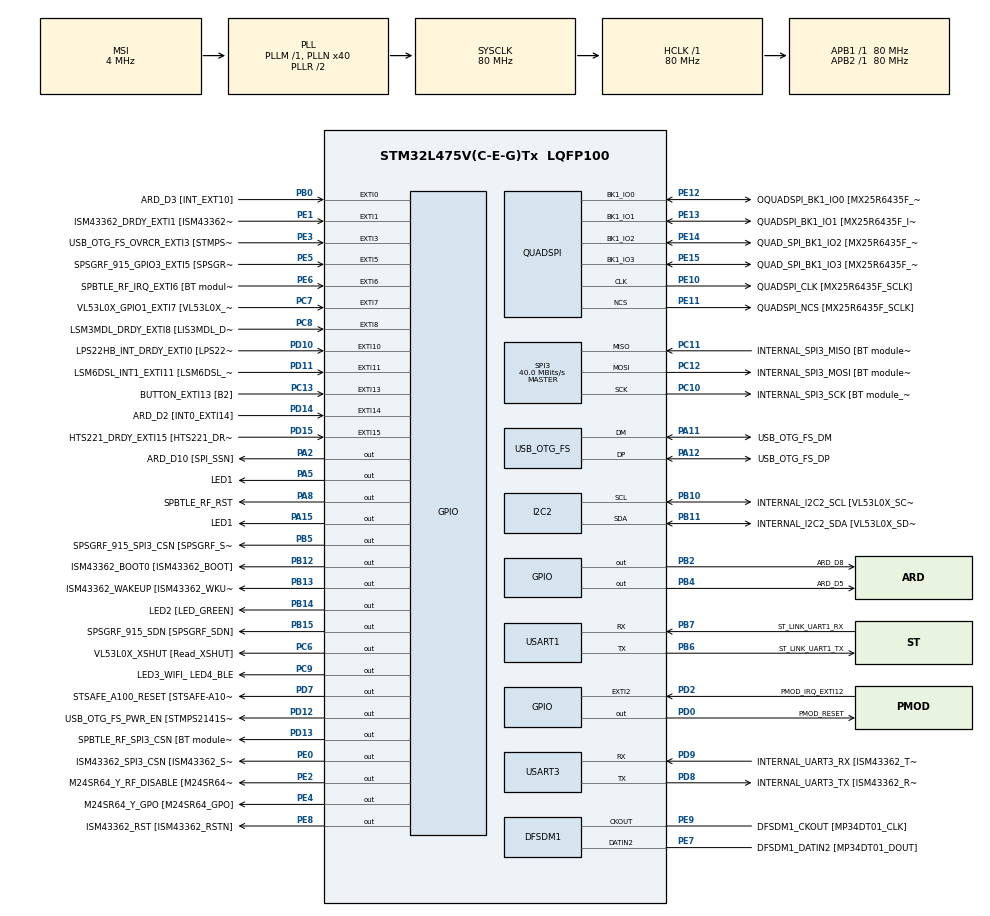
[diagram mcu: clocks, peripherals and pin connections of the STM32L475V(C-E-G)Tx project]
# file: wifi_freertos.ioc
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FREERTOS.Tasks01=defaultTask,32,256,StartDefaultTask,Default,NULL,Dynamic,NULL,NULL;wifiStart,24,512,wifiStartTask,Default,NULL,Dynamic,NULL,NULL;ledTask,24,256,ledTaskFunc,Default,NULL,Dynamic,NULL,NULL
FREERTOS.configENABLE_FPU=1
FREERTOS.configTOTAL_HEAP_SIZE=5000
FREERTOS.configUSE_NEWLIB_REENTRANT=1
Mcu.Family=STM32L4
Mcu.Name=STM32L475V(C-E-G)Tx
Mcu.Package=LQFP100
NVIC.EXTI15_10_IRQn=true\:5\:0\:false\:false\:true\:true\:true\:true
NVIC.EXTI1_IRQn=true\:5\:0\:false\:false\:true\:true\:true\:true
NVIC.EXTI9_5_IRQn=true\:5\:0\:false\:false\:true\:true\:true\:true
NVIC.PriorityGroup=NVIC_PRIORITYGROUP_4
NVIC.TIM6_DAC_IRQn=true\:15\:0\:false\:false\:true\:false\:false\:true
NVIC.TimeBase=TIM6_DAC_IRQn
NVIC.TimeBaseIP=TIM6
PA0.GPIO_Label=ARD_D1 [UART4_TX]
PA0.Signal=UART4_TX
PA1.GPIO_Label=ARD_D0 [UART4_RX]
PA1.Signal=UART4_RX
PA10.GPIO_Label=USB_OTG_FS_ID
PA10.Signal=USB_OTG_FS_ID
PA11.GPIO_Label=USB_OTG_FS_DM
PA11.Mode=Device_Only
PA11.Signal=USB_OTG_FS_DM
PA12.GPIO_Label=USB_OTG_FS_DP
PA12.Mode=Device_Only
PA12.Signal=USB_OTG_FS_DP
PA13\ (JTMS-SWDIO).GPIO_Label=SYS_JTMS_SWDIO
PA13\ (JTMS-SWDIO).Mode=Serial_Wire
PA13\ (JTMS-SWDIO).Signal=SYS_JTMS-SWDIO
PA14\ (JTCK-SWCLK).GPIO_Label=SYS_JTCK_SWCLK
PA14\ (JTCK-SWCLK).Mode=Serial_Wire
PA14\ (JTCK-SWCLK).Signal=SYS_JTCK-SWCLK
PA15\ (JTDI).GPIO_Label=LED1
PA15\ (JTDI).Signal=GPIO_Output
PA2.GPIO_Label=ARD_D10 [SPI_SSN]
PA2.Signal=GPIO_Output
PA3.GPIO_Label=ARD_D4
PA3.Signal=S_TIM2_CH4
PA4.GPIO_Label=ARD_D7
PA4.Signal=ADCx_IN9
PA5.GPIO_Label=LED1
PA5.Signal=GPIO_Output
PA6.GPIO_Label=ARD_D12 [SPI1_MISO]
PA6.Signal=SPI1_MISO
PA7.GPIO_Label=ARD_D11 [SPI1_MOSI]
PA7.Signal=SPI1_MOSI
PA8.GPIO_Label=SPBTLE_RF_RST
PA8.Signal=GPIO_Output
PA9.GPIO_Label=USB_OTG_FS_VBUS [STMPS2141STR_OUT]
PA9.Signal=USB_OTG_FS_VBUS
PB0.GPIO_Label=ARD_D3 [INT_EXT10]
PB0.Signal=GPXTI0
PB1.GPIO_Label=ARD_D6 [ADC1_IN6]
PB1.Signal=ADCx_IN16
PB10.GPIO_Label=INTERNAL_I2C2_SCL [VL53L0X_SCL]
PB10.GPIO_Pu=GPIO_PULLUP
PB10.Mode=I2C
PB10.Signal=I2C2_SCL
PB11.GPIO_Label=INTERNAL_I2C2_SDA [VL53L0X_SDA]
PB11.GPIO_Pu=GPIO_PULLUP
PB11.Mode=I2C
PB11.Signal=I2C2_SDA
PB12.GPIO_Label=ISM43362_BOOT0 [ISM43362_BOOT]
PB12.Signal=GPIO_Output
PB13.GPIO_Label=ISM43362_WAKEUP [ISM43362_WKUP]
PB13.Signal=GPIO_Output
PB14.GPIO_Label=LED2 [LED_GREEN]
PB14.Signal=GPIO_Output
PB15.GPIO_Label=SPSGRF_915_SDN [SPSGRF_SDN]
PB15.Signal=GPIO_Output
PB2.GPIO_Label=ARD_D8
PB2.Signal=GPIO_Output
PB3\ (JTDO-TRACESWO).GPIO_Label=SYS_JTD0_SWO
PB3\ (JTDO-TRACESWO).Signal=SYS_JTDO-SWO
PB4\ (NJTRST).GPIO_Label=ARD_D5
PB4\ (NJTRST).Signal=GPIO_Output
PB5.GPIO_Label=SPSGRF_915_SPI3_CSN [SPSGRF_SPI_CS]
PB5.PinState=GPIO_PIN_SET
PB5.Signal=GPIO_Output
PB6.GPIO_Label=ST_LINK_UART1_TX
PB6.Mode=Asynchronous
PB6.Signal=USART1_TX
PB7.GPIO_Label=ST_LINK_UART1_RX
PB7.Mode=Asynchronous
PB7.Signal=USART1_RX
PB8.GPIO_Label=ARD_D15 [I2C1_SCL]
PB8.Signal=I2C1_SCL
PB9.GPIO_Label=ARD_D14 [I2C1_SDA]
PB9.Signal=I2C1_SDA
PC0.GPIO_Label=ARD_A5 [ADC]
PC0.Signal=ADCx_IN1
PC1.GPIO_Label=ARD_A4 [ADC]
PC1.Signal=ADCx_IN2
PC10.GPIO_Label=INTERNAL_SPI3_SCK [BT module_SPI_SCLK] [ISM43362_SCK]
PC10.Mode=Full_Duplex_Master
PC10.Signal=SPI3_SCK
PC11.GPIO_Label=INTERNAL_SPI3_MISO [BT module_SPI_MISO] [ISM43362_MISO]
PC11.Mode=Full_Duplex_Master
PC11.Signal=SPI3_MISO
PC12.GPIO_Label=INTERNAL_SPI3_MOSI [BT module_SPI_MOSI] [ISM43362_MOSI]
PC12.Mode=Full_Duplex_Master
PC12.Signal=SPI3_MOSI
PC13.GPIO_Label=BUTTON_EXTI13 [B2]
PC13.GPIO_ModeDefaultEXTI=GPIO_MODE_IT_FALLING
PC13.Signal=GPXTI13
PC14-OSC32_IN\ (PC14).Mode=LSE-External-Oscillator
PC14-OSC32_IN\ (PC14).Signal=RCC_OSC32_IN
PC15-OSC32_OUT\ (PC15).Mode=LSE-External-Oscillator
PC15-OSC32_OUT\ (PC15).Signal=RCC_OSC32_OUT
PC2.GPIO_Label=ARD_A3 [ADC]
PC2.Signal=ADCx_IN3
PC3.GPIO_Label=ARD_A2 [ADC]
PC3.Signal=ADCx_IN4
PC4.GPIO_Label=ARD_A1 [ADC]
PC4.Signal=ADCx_IN13
PC5.GPIO_Label=ARD_A0 [ADC]
PC5.Signal=ADCx_IN14
PC6.GPIO_Label=VL53L0X_XSHUT [Read_XSHUT]
PC6.Signal=GPIO_Output
PC7.GPIO_Label=VL53L0X_GPIO1_EXTI7 [VL53L0X_GPIO1]
PC7.Signal=GPXTI7
PC8.GPIO_Label=LSM3MDL_DRDY_EXTI8 [LIS3MDL_DRDY]
PC8.Signal=GPXTI8
PC9.GPIO_Label=LED3_WIFI_ LED4_BLE
PC9.Signal=GPIO_Output
PD0.GPIO_Label=PMOD_RESET
PD0.Signal=GPIO_Output
PD1.GPIO_Label=PMOD_SPI2_SCK
PD1.Signal=SPI2_SCK
PD10.GPIO_Label=LPS22HB_INT_DRDY_EXTI0 [LPS22HB_INT_DRDY] 
PD10.Signal=GPXTI10
PD11.GPIO_Label=LSM6DSL_INT1_EXTI11 [LSM6DSL_INT1]
PD11.Signal=GPXTI11
PD12.GPIO_Label=USB_OTG_FS_PWR_EN [STMPS2141STR_EN]
PD12.Signal=GPIO_Output
PD13.GPIO_Label=SPBTLE_RF_SPI3_CSN [BT module_SPI_CS]
PD13.PinState=GPIO_PIN_SET
PD13.Signal=GPIO_Output
PD14.GPIO_Label=ARD_D2 [INT0_EXTI14]
PD14.Signal=GPXTI14
PD15.GPIO_Label=HTS221_DRDY_EXTI15 [HTS221_DRDY]
PD15.Signal=GPXTI15
PD2.GPIO_Label=PMOD_IRQ_EXTI12
PD2.Signal=GPXTI2
PD3.GPIO_Label=PMOD_UART2_CTS
PD3.Signal=USART2_CTS
PD4.GPIO_Label=PMOD_UART2_RTS
PD4.Signal=USART2_RTS
PD5.GPIO_Label=PMOD_UART2_TX
PD5.Signal=USART2_TX
PD6.GPIO_Label=PMOD_UART2_RX
PD6.Signal=USART2_RX
PD7.GPIO_Label=STSAFE_A100_RESET [STSAFE-A100_RESET]
PD7.Signal=GPIO_Output
PD8.GPIO_Label=INTERNAL_UART3_TX [ISM43362_RX]
PD8.Mode=Asynchronous
PD8.Signal=USART3_TX
PD9.GPIO_Label=INTERNAL_UART3_RX [ISM43362_TX]
PD9.Mode=Asynchronous
PD9.Signal=USART3_RX
PE0.GPIO_Label=ISM43362_SPI3_CSN [ISM43362_SSN]
PE0.PinState=GPIO_PIN_SET
PE0.Signal=GPIO_Output
PE1.GPIO_Label=ISM43362_DRDY_EXTI1 [ISM43362_DATARDY]
PE1.Signal=GPXTI1
PE10.GPIO_Label=QUADSPI_CLK [MX25R6435F_SCLK]
PE10.Mode=Single Bank
PE10.Signal=QUADSPI_CLK
PE11.GPIO_Label=QUADSPI_NCS [MX25R6435F_SCLK]
PE11.Mode=Single Bank
PE11.Signal=QUADSPI_NCS
PE12.GPIO_Label=OQUADSPI_BK1_IO0 [MX25R6435F_IO0]
PE12.Mode=Single Bank
PE12.Signal=QUADSPI_BK1_IO0
PE13.GPIO_Label=QUADSPI_BK1_IO1 [MX25R6435F_IO1]
PE13.Mode=Single Bank
PE13.Signal=QUADSPI_BK1_IO1
PE14.GPIO_Label=QUAD_SPI_BK1_IO2 [MX25R6435F_IO2]
PE14.Mode=Single Bank
PE14.Signal=QUADSPI_BK1_IO2
PE15.GPIO_Label=QUAD_SPI_BK1_IO3 [MX25R6435F_IO3]
PE15.Mode=Single Bank
PE15.Signal=QUADSPI_BK1_IO3
PE2.GPIO_Label=M24SR64_Y_RF_DISABLE [M24SR64_RFDIS]
PE2.Signal=GPIO_Output
PE3.GPIO_Label=USB_OTG_FS_OVRCR_EXTI3 [STMPS2141STR_FAULT]
PE3.Signal=GPXTI3
PE4.GPIO_Label=M24SR64_Y_GPO [M24SR64_GPO]
PE4.Signal=GPIO_Output
PE5.GPIO_Label=SPSGRF_915_GPIO3_EXTI5 [SPSGRF_GPIO_3]
PE5.Signal=GPXTI5
PE6.GPIO_Label=SPBTLE_RF_IRQ_EXTI6 [BT module_SPI_IRQ]
PE6.Signal=GPXTI6
PE7.GPIO_Label=DFSDM1_DATIN2 [MP34DT01_DOUT]
PE7.Signal=S_DATAIN2DFSDM1
PE8.GPIO_Label=ISM43362_RST [ISM43362_RSTN]
PE8.Signal=GPIO_Output
PE9.GPIO_Label=DFSDM1_CKOUT [MP34DT01_CLK]
PE9.Signal=S_CKOUTDFSDM1
ProjectManager.HeapSize=0x200
ProjectManager.StackSize=0x400
ProjectManager.TargetToolchain=STM32CubeIDE
QUADSPI.ClockPrescaler=2
QUADSPI.FifoThreshold=4
QUADSPI.FlashSize=23
QUADSPI.SampleShifting=QSPI_SAMPLE_SHIFTING_HALFCYCLE
RCC.ADCFreq_Value=48000000
RCC.AHBFreq_Value=80000000
RCC.APB1Freq_Value=80000000
RCC.APB1TimFreq_Value=80000000
RCC.APB2Freq_Value=80000000
RCC.APB2TimFreq_Value=80000000
RCC.CortexFreq_Value=80000000
RCC.HCLKFreq_Value=80000000
RCC.HSE_VALUE=8000000
RCC.HSI_VALUE=16000000
RCC.MSI_VALUE=4000000
RCC.PLLN=40
RCC.PLLSAI1N=24
RCC.SYSCLKFreq_VALUE=80000000
RCC.SYSCLKSource=RCC_SYSCLKSOURCE_PLLCLK
RCC.USBFreq_Value=48000000
RCC.VCOOutputFreq_Value=160000000
SH.ADCx_IN1.0=ADC1_IN1
SH.ADCx_IN13.0=ADC1_IN13
SH.ADCx_IN14.0=ADC1_IN14
SH.ADCx_IN16.0=ADC1_IN16
SH.ADCx_IN2.0=ADC1_IN2
SH.ADCx_IN3.0=ADC1_IN3
SH.ADCx_IN4.0=ADC1_IN4
SH.ADCx_IN9.0=ADC1_IN9
SH.S_CKOUTDFSDM1.0=DFSDM1_CKOUT,CKOUT
SH.S_CKOUTDFSDM1.1=DFSDM1_CKOUT,PDM_SPI_Input_from_ch12_and_Internal_Clock
SH.S_DATAIN2DFSDM1.0=DFSDM1_DATIN2,PDM_SPI_Input_from_ch12_and_Internal_Clock
SH.S_TIM2_CH4.0=TIM2_CH4
SPI3.CalculateBaudRate=40.0 MBits/s
SPI3.Direction=SPI_DIRECTION_2LINES
SPI3.Mode=SPI_MODE_MASTER
SPI3.VirtualType=VM_MASTER
USART1.VirtualMode-Asynchronous=VM_ASYNC
USART3.VirtualMode-Asynchronous=VM_ASYNC
USB_OTG_FS.VirtualMode=Device_Only
VP_FREERTOS_VS_CMSIS_V2.Mode=CMSIS_V2
VP_SYS_VS_tim6.Mode=TIM6
board=B-L475E-IOT01A1

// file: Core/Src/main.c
/* USER CODE BEGIN Header */
/**
  ******************************************************************************
  * @file           : main.c
  * @brief          : Main program body
  ******************************************************************************
  * @attention
  *
  * <h2><center>&copy; Copyright (c) 2021 STMicroelectronics.
  * All rights reserved.</center></h2>
  *
  * This software component is licensed by ST under BSD 3-Clause license,
  * the "License"; You may not use this file except in compliance with the
  * License. You may obtain a copy of the License at:
  *                        opensource.org/licenses/BSD-3-Clause
  *
  ******************************************************************************
  */
/* USER CODE END Header */
#include "main.h"
#include "cmsis_os.h"

/* USER CODE BEGIN Includes */
#include "es_wifi.h"
#include "wifi.h"
#include "stm32l4xx_hal_uart.h"
#include "stm32l475e_iot01.h"
#include "stm32l475e_iot01_tsensor.h"

/* USER CODE END Includes */

/* USER CODE BEGIN PTD */
extern  SPI_HandleTypeDef hspi;
void SPI3_IRQHandler(void);

/* USER CODE END PTD */

/* USER CODE BEGIN PD */
#define FLAG_LED_ON  0x0001U
#define FLAG_LED_OFF 0x0002U
/* USER CODE END PD */

/* USER CODE BEGIN PM */
/* Update SSID and PASSWORD with own Access point settings */
#include "wifi_passwords.h"
#define PORT           80

#define TERMINAL_USE

#define WIFI_WRITE_TIMEOUT 10000
#define WIFI_READ_TIMEOUT  10000
#define SOCKET                 0

#ifdef  TERMINAL_USE
#define LOG(a) printf a
#else
#define LOG(a)
#endif

/* USER CODE END PM */

DFSDM_Channel_HandleTypeDef hdfsdm1_channel1;

I2C_HandleTypeDef hi2c2;

QSPI_HandleTypeDef hqspi;

SPI_HandleTypeDef hspi3;

UART_HandleTypeDef huart1;
UART_HandleTypeDef huart3;

PCD_HandleTypeDef hpcd_USB_OTG_FS;

/* Definitions for defaultTask */
osThreadId_t defaultTaskHandle;
const osThreadAttr_t defaultTask_attributes = {
  .name = "defaultTask",
  .stack_size = 256 * 4,
  .priority = (osPriority_t) osPriorityAboveNormal,
};
/* Definitions for wifiStart */
osThreadId_t wifiStartHandle;
const osThreadAttr_t wifiStart_attributes = {
  .name = "wifiStart",
  .stack_size = 512 * 4,
  .priority = (osPriority_t) osPriorityNormal,
};
/* Definitions for ledTask */
osThreadId_t ledTaskHandle;
const osThreadAttr_t ledTask_attributes = {
  .name = "ledTask",
  .stack_size = 256 * 4,
  .priority = (osPriority_t) osPriorityNormal,
};
/* USER CODE BEGIN PV */
#if defined (TERMINAL_USE)
extern UART_HandleTypeDef hDiscoUart;
#endif /* TERMINAL_USE */

static  uint8_t http[1024];
static  uint8_t  IP_Addr[4];
static  int     LedState = 0;

/* USER CODE END PV */

void SystemClock_Config(void);
static void MX_GPIO_Init(void);
static void MX_DFSDM1_Init(void);
static void MX_I2C2_Init(void);
static void MX_QUADSPI_Init(void);
static void MX_SPI3_Init(void);
static void MX_USART1_UART_Init(void);
static void MX_USART3_UART_Init(void);
static void MX_USB_OTG_FS_PCD_Init(void);
void StartDefaultTask(void *argument);
void wifiStartTask(void *argument);
void ledTaskFunc(void *argument);

/* USER CODE BEGIN PFP */
#if defined (TERMINAL_USE)
#ifdef __GNUC__
/* With GCC, small printf (option LD Linker->Libraries->Small printf
   set to 'Yes') calls __io_putchar() */
#define PUTCHAR_PROTOTYPE int __io_putchar(int ch)
#else
#define PUTCHAR_PROTOTYPE int fputc(int ch, FILE *f)
#endif /* __GNUC__ */
#endif /* TERMINAL_USE */

static  WIFI_Status_t SendWebPage(uint8_t ledIsOn, int16_t temperature);
static  int wifi_server(void);
static  int wifi_start(void);
static  int wifi_connect(void);
static  bool WebServerProcess(void);
int wifi_get_http(void);
int16_t BSP_TSENSOR_ReadIntTemp(void);
int16_t HTS221_T_ReadIntTemp(uint16_t);

/* USER CODE END PFP */

int main(void)
{
  /* USER CODE BEGIN 1 */
	int16_t curtemp;
  /* USER CODE END 1 */

  /* MCU Configuration--------------------------------------------------------*/

  /* Reset of all peripherals, Initializes the Flash interface and the Systick. */
  HAL_Init();

  /* Configure the system clock */
  SystemClock_Config();

  /* Initialize all configured peripherals */
  MX_GPIO_Init();
  MX_DFSDM1_Init();
  MX_I2C2_Init();
  MX_QUADSPI_Init();
  MX_SPI3_Init();
  MX_USART1_UART_Init();
  MX_USART3_UART_Init();
  MX_USB_OTG_FS_PCD_Init();
  /* USER CODE BEGIN 2 */
#if defined (TERMINAL_USE)
  /* Initialize all configured peripherals */
  hDiscoUart.Instance = DISCOVERY_COM1;
  hDiscoUart.Init.BaudRate = 115200;
  hDiscoUart.Init.WordLength = UART_WORDLENGTH_8B;
  hDiscoUart.Init.StopBits = UART_STOPBITS_1;
  hDiscoUart.Init.Parity = UART_PARITY_NONE;
  hDiscoUart.Init.Mode = UART_MODE_TX_RX;
  hDiscoUart.Init.HwFlowCtl = UART_HWCONTROL_NONE;
  hDiscoUart.Init.OverSampling = UART_OVERSAMPLING_16;
  hDiscoUart.Init.OneBitSampling = UART_ONE_BIT_SAMPLE_DISABLE;
  hDiscoUart.AdvancedInit.AdvFeatureInit = UART_ADVFEATURE_NO_INIT;

  BSP_COM_Init(COM1, &hDiscoUart);
  BSP_TSENSOR_Init();

  printf("****** WIFI Web Server demonstration****** \n\n");
  curtemp=HTS221_T_ReadIntTemp(TSENSOR_I2C_ADDRESS);
  printf("Current temperature is %d\n",curtemp);

#endif /* TERMINAL_USE */

  LOG(("Program starting with RTOS.\n"));
  //wifi_server();
  /* USER CODE END 2 */

  /* Init scheduler */
  osKernelInitialize();

  /* Create the thread(s) */
  /* creation of defaultTask */
  defaultTaskHandle = osThreadNew(StartDefaultTask, NULL, &defaultTask_attributes);

  /* creation of wifiStart */
  wifiStartHandle = osThreadNew(wifiStartTask, NULL, &wifiStart_attributes);

  /* creation of ledTask */
  ledTaskHandle = osThreadNew(ledTaskFunc, NULL, &ledTask_attributes);

  /* Start scheduler */
  osKernelStart();

  /* We should never get here as control is now taken by the scheduler */
  /* Infinite loop */
  while (1)
  {

  }
}

void SystemClock_Config(void)
{
  RCC_OscInitTypeDef RCC_OscInitStruct = {0};
  RCC_ClkInitTypeDef RCC_ClkInitStruct = {0};

  /** Configure the main internal regulator output voltage
  */
  if (HAL_PWREx_ControlVoltageScaling(PWR_REGULATOR_VOLTAGE_SCALE1) != HAL_OK)
  {
    Error_Handler();
  }
  /** Configure LSE Drive Capability
  */
  HAL_PWR_EnableBkUpAccess();
  __HAL_RCC_LSEDRIVE_CONFIG(RCC_LSEDRIVE_LOW);
  /** Initializes the RCC Oscillators according to the specified parameters
  * in the RCC_OscInitTypeDef structure.
  */
  RCC_OscInitStruct.OscillatorType = RCC_OSCILLATORTYPE_LSE|RCC_OSCILLATORTYPE_MSI;
  RCC_OscInitStruct.LSEState = RCC_LSE_ON;
  RCC_OscInitStruct.MSIState = RCC_MSI_ON;
  RCC_OscInitStruct.MSICalibrationValue = 0;
  RCC_OscInitStruct.MSIClockRange = RCC_MSIRANGE_6;
  RCC_OscInitStruct.PLL.PLLState = RCC_PLL_ON;
  RCC_OscInitStruct.PLL.PLLSource = RCC_PLLSOURCE_MSI;
  RCC_OscInitStruct.PLL.PLLM = 1;
  RCC_OscInitStruct.PLL.PLLN = 40;
  RCC_OscInitStruct.PLL.PLLP = RCC_PLLP_DIV7;
  RCC_OscInitStruct.PLL.PLLQ = RCC_PLLQ_DIV2;
  RCC_OscInitStruct.PLL.PLLR = RCC_PLLR_DIV2;
  if (HAL_RCC_OscConfig(&RCC_OscInitStruct) != HAL_OK)
  {
    Error_Handler();
  }
  /** Initializes the CPU, AHB and APB buses clocks
  */
  RCC_ClkInitStruct.ClockType = RCC_CLOCKTYPE_HCLK|RCC_CLOCKTYPE_SYSCLK
                              |RCC_CLOCKTYPE_PCLK1|RCC_CLOCKTYPE_PCLK2;
  RCC_ClkInitStruct.SYSCLKSource = RCC_SYSCLKSOURCE_PLLCLK;
  RCC_ClkInitStruct.AHBCLKDivider = RCC_SYSCLK_DIV1;
  RCC_ClkInitStruct.APB1CLKDivider = RCC_HCLK_DIV1;
  RCC_ClkInitStruct.APB2CLKDivider = RCC_HCLK_DIV1;

  if (HAL_RCC_ClockConfig(&RCC_ClkInitStruct, FLASH_LATENCY_4) != HAL_OK)
  {
    Error_Handler();
  }
  /** Enable MSI Auto calibration
  */
  HAL_RCCEx_EnableMSIPLLMode();
}

static void MX_DFSDM1_Init(void)
{

  hdfsdm1_channel1.Instance = DFSDM1_Channel1;
  hdfsdm1_channel1.Init.OutputClock.Activation = ENABLE;
  hdfsdm1_channel1.Init.OutputClock.Selection = DFSDM_CHANNEL_OUTPUT_CLOCK_SYSTEM;
  hdfsdm1_channel1.Init.OutputClock.Divider = 2;
  hdfsdm1_channel1.Init.Input.Multiplexer = DFSDM_CHANNEL_EXTERNAL_INPUTS;
  hdfsdm1_channel1.Init.Input.DataPacking = DFSDM_CHANNEL_STANDARD_MODE;
  hdfsdm1_channel1.Init.Input.Pins = DFSDM_CHANNEL_FOLLOWING_CHANNEL_PINS;
  hdfsdm1_channel1.Init.SerialInterface.Type = DFSDM_CHANNEL_SPI_RISING;
  hdfsdm1_channel1.Init.SerialInterface.SpiClock = DFSDM_CHANNEL_SPI_CLOCK_INTERNAL;
  hdfsdm1_channel1.Init.Awd.FilterOrder = DFSDM_CHANNEL_FASTSINC_ORDER;
  hdfsdm1_channel1.Init.Awd.Oversampling = 1;
  hdfsdm1_channel1.Init.Offset = 0;
  hdfsdm1_channel1.Init.RightBitShift = 0x00;
  if (HAL_DFSDM_ChannelInit(&hdfsdm1_channel1) != HAL_OK)
  {
    Error_Handler();
  }

}

static void MX_I2C2_Init(void)
{

  hi2c2.Instance = I2C2;
  hi2c2.Init.Timing = 0x00000E14;
  hi2c2.Init.OwnAddress1 = 0;
  hi2c2.Init.AddressingMode = I2C_ADDRESSINGMODE_7BIT;
  hi2c2.Init.DualAddressMode = I2C_DUALADDRESS_DISABLE;
  hi2c2.Init.OwnAddress2 = 0;
  hi2c2.Init.OwnAddress2Masks = I2C_OA2_NOMASK;
  hi2c2.Init.GeneralCallMode = I2C_GENERALCALL_DISABLE;
  hi2c2.Init.NoStretchMode = I2C_NOSTRETCH_DISABLE;
  if (HAL_I2C_Init(&hi2c2) != HAL_OK)
  {
    Error_Handler();
  }
  /** Configure Analogue filter
  */
  if (HAL_I2CEx_ConfigAnalogFilter(&hi2c2, I2C_ANALOGFILTER_ENABLE) != HAL_OK)
  {
    Error_Handler();
  }
  /** Configure Digital filter
  */
  if (HAL_I2CEx_ConfigDigitalFilter(&hi2c2, 0) != HAL_OK)
  {
    Error_Handler();
  }

}

static void MX_QUADSPI_Init(void)
{

  /* QUADSPI parameter configuration*/
  hqspi.Instance = QUADSPI;
  hqspi.Init.ClockPrescaler = 2;
  hqspi.Init.FifoThreshold = 4;
  hqspi.Init.SampleShifting = QSPI_SAMPLE_SHIFTING_HALFCYCLE;
  hqspi.Init.FlashSize = 23;
  hqspi.Init.ChipSelectHighTime = QSPI_CS_HIGH_TIME_1_CYCLE;
  hqspi.Init.ClockMode = QSPI_CLOCK_MODE_0;
  if (HAL_QSPI_Init(&hqspi) != HAL_OK)
  {
    Error_Handler();
  }

}

static void MX_SPI3_Init(void)
{

  /* SPI3 parameter configuration*/
  hspi3.Instance = SPI3;
  hspi3.Init.Mode = SPI_MODE_MASTER;
  hspi3.Init.Direction = SPI_DIRECTION_2LINES;
  hspi3.Init.DataSize = SPI_DATASIZE_4BIT;
  hspi3.Init.CLKPolarity = SPI_POLARITY_LOW;
  hspi3.Init.CLKPhase = SPI_PHASE_1EDGE;
  hspi3.Init.NSS = SPI_NSS_SOFT;
  hspi3.Init.BaudRatePrescaler = SPI_BAUDRATEPRESCALER_2;
  hspi3.Init.FirstBit = SPI_FIRSTBIT_MSB;
  hspi3.Init.TIMode = SPI_TIMODE_DISABLE;
  hspi3.Init.CRCCalculation = SPI_CRCCALCULATION_DISABLE;
  hspi3.Init.CRCPolynomial = 7;
  hspi3.Init.CRCLength = SPI_CRC_LENGTH_DATASIZE;
  hspi3.Init.NSSPMode = SPI_NSS_PULSE_ENABLE;
  if (HAL_SPI_Init(&hspi3) != HAL_OK)
  {
    Error_Handler();
  }

}

static void MX_USART1_UART_Init(void)
{

  huart1.Instance = USART1;
  huart1.Init.BaudRate = 115200;
  huart1.Init.WordLength = UART_WORDLENGTH_8B;
  huart1.Init.StopBits = UART_STOPBITS_1;
  huart1.Init.Parity = UART_PARITY_NONE;
  huart1.Init.Mode = UART_MODE_TX_RX;
  huart1.Init.HwFlowCtl = UART_HWCONTROL_NONE;
  huart1.Init.OverSampling = UART_OVERSAMPLING_16;
  huart1.Init.OneBitSampling = UART_ONE_BIT_SAMPLE_DISABLE;
  huart1.AdvancedInit.AdvFeatureInit = UART_ADVFEATURE_NO_INIT;
  if (HAL_UART_Init(&huart1) != HAL_OK)
  {
    Error_Handler();
  }

}

static void MX_USART3_UART_Init(void)
{

  huart3.Instance = USART3;
  huart3.Init.BaudRate = 115200;
  huart3.Init.WordLength = UART_WORDLENGTH_8B;
  huart3.Init.StopBits = UART_STOPBITS_1;
  huart3.Init.Parity = UART_PARITY_NONE;
  huart3.Init.Mode = UART_MODE_TX_RX;
  huart3.Init.HwFlowCtl = UART_HWCONTROL_NONE;
  huart3.Init.OverSampling = UART_OVERSAMPLING_16;
  huart3.Init.OneBitSampling = UART_ONE_BIT_SAMPLE_DISABLE;
  huart3.AdvancedInit.AdvFeatureInit = UART_ADVFEATURE_NO_INIT;
  if (HAL_UART_Init(&huart3) != HAL_OK)
  {
    Error_Handler();
  }

}

static void MX_USB_OTG_FS_PCD_Init(void)
{

  hpcd_USB_OTG_FS.Instance = USB_OTG_FS;
  hpcd_USB_OTG_FS.Init.dev_endpoints = 6;
  hpcd_USB_OTG_FS.Init.speed = PCD_SPEED_FULL;
  hpcd_USB_OTG_FS.Init.phy_itface = PCD_PHY_EMBEDDED;
  hpcd_USB_OTG_FS.Init.Sof_enable = DISABLE;
  hpcd_USB_OTG_FS.Init.low_power_enable = DISABLE;
  hpcd_USB_OTG_FS.Init.lpm_enable = DISABLE;
  hpcd_USB_OTG_FS.Init.battery_charging_enable = DISABLE;
  hpcd_USB_OTG_FS.Init.use_dedicated_ep1 = DISABLE;
  hpcd_USB_OTG_FS.Init.vbus_sensing_enable = DISABLE;
  if (HAL_PCD_Init(&hpcd_USB_OTG_FS) != HAL_OK)
  {
    Error_Handler();
  }

}

static void MX_GPIO_Init(void)
{
  GPIO_InitTypeDef GPIO_InitStruct = {0};

  /* GPIO Ports Clock Enable */
  __HAL_RCC_GPIOE_CLK_ENABLE();
  __HAL_RCC_GPIOC_CLK_ENABLE();
  __HAL_RCC_GPIOA_CLK_ENABLE();
  __HAL_RCC_GPIOB_CLK_ENABLE();
  __HAL_RCC_GPIOD_CLK_ENABLE();

  /*Configure GPIO pin Output Level */
  HAL_GPIO_WritePin(GPIOE, M24SR64_Y_RF_DISABLE_Pin|M24SR64_Y_GPO_Pin|ISM43362_RST_Pin, GPIO_PIN_RESET);

  /*Configure GPIO pin Output Level */
  HAL_GPIO_WritePin(GPIOA, ARD_D10_Pin|LED1_Pin|SPBTLE_RF_RST_Pin|LED1A15_Pin, GPIO_PIN_RESET);

  /*Configure GPIO pin Output Level */
  HAL_GPIO_WritePin(GPIOB, ARD_D8_Pin|ISM43362_BOOT0_Pin|ISM43362_WAKEUP_Pin|LED2_Pin
                          |SPSGRF_915_SDN_Pin|ARD_D5_Pin, GPIO_PIN_RESET);

  /*Configure GPIO pin Output Level */
  HAL_GPIO_WritePin(GPIOD, USB_OTG_FS_PWR_EN_Pin|PMOD_RESET_Pin|STSAFE_A100_RESET_Pin, GPIO_PIN_RESET);

  /*Configure GPIO pin Output Level */
  HAL_GPIO_WritePin(SPBTLE_RF_SPI3_CSN_GPIO_Port, SPBTLE_RF_SPI3_CSN_Pin, GPIO_PIN_SET);

  /*Configure GPIO pin Output Level */
  HAL_GPIO_WritePin(GPIOC, VL53L0X_XSHUT_Pin|LED3_WIFI__LED4_BLE_Pin, GPIO_PIN_RESET);

  /*Configure GPIO pin Output Level */
  HAL_GPIO_WritePin(SPSGRF_915_SPI3_CSN_GPIO_Port, SPSGRF_915_SPI3_CSN_Pin, GPIO_PIN_SET);

  /*Configure GPIO pin Output Level */
  HAL_GPIO_WritePin(ISM43362_SPI3_CSN_GPIO_Port, ISM43362_SPI3_CSN_Pin, GPIO_PIN_SET);

  /*Configure GPIO pins : M24SR64_Y_RF_DISABLE_Pin M24SR64_Y_GPO_Pin ISM43362_RST_Pin ISM43362_SPI3_CSN_Pin */
  GPIO_InitStruct.Pin = M24SR64_Y_RF_DISABLE_Pin|M24SR64_Y_GPO_Pin|ISM43362_RST_Pin|ISM43362_SPI3_CSN_Pin;
  GPIO_InitStruct.Mode = GPIO_MODE_OUTPUT_PP;
  GPIO_InitStruct.Pull = GPIO_NOPULL;
  GPIO_InitStruct.Speed = GPIO_SPEED_FREQ_LOW;
  HAL_GPIO_Init(GPIOE, &GPIO_InitStruct);

  /*Configure GPIO pins : USB_OTG_FS_OVRCR_EXTI3_Pin SPSGRF_915_GPIO3_EXTI5_Pin SPBTLE_RF_IRQ_EXTI6_Pin ISM43362_DRDY_EXTI1_Pin */
  GPIO_InitStruct.Pin = USB_OTG_FS_OVRCR_EXTI3_Pin|SPSGRF_915_GPIO3_EXTI5_Pin|SPBTLE_RF_IRQ_EXTI6_Pin|ISM43362_DRDY_EXTI1_Pin;
  GPIO_InitStruct.Mode = GPIO_MODE_IT_RISING;
  GPIO_InitStruct.Pull = GPIO_NOPULL;
  HAL_GPIO_Init(GPIOE, &GPIO_InitStruct);

  /*Configure GPIO pin : BUTTON_EXTI13_Pin */
  GPIO_InitStruct.Pin = BUTTON_EXTI13_Pin;
  GPIO_InitStruct.Mode = GPIO_MODE_IT_FALLING;
  GPIO_InitStruct.Pull = GPIO_NOPULL;
  HAL_GPIO_Init(BUTTON_EXTI13_GPIO_Port, &GPIO_InitStruct);

  /*Configure GPIO pins : ARD_A5_Pin ARD_A4_Pin ARD_A3_Pin ARD_A2_Pin
                           ARD_A1_Pin ARD_A0_Pin */
  GPIO_InitStruct.Pin = ARD_A5_Pin|ARD_A4_Pin|ARD_A3_Pin|ARD_A2_Pin
                          |ARD_A1_Pin|ARD_A0_Pin;
  GPIO_InitStruct.Mode = GPIO_MODE_ANALOG_ADC_CONTROL;
  GPIO_InitStruct.Pull = GPIO_NOPULL;
  HAL_GPIO_Init(GPIOC, &GPIO_InitStruct);

  /*Configure GPIO pins : ARD_D1_Pin ARD_D0_Pin */
  GPIO_InitStruct.Pin = ARD_D1_Pin|ARD_D0_Pin;
  GPIO_InitStruct.Mode = GPIO_MODE_AF_PP;
  GPIO_InitStruct.Pull = GPIO_NOPULL;
  GPIO_InitStruct.Speed = GPIO_SPEED_FREQ_VERY_HIGH;
  GPIO_InitStruct.Alternate = GPIO_AF8_UART4;
  HAL_GPIO_Init(GPIOA, &GPIO_InitStruct);

  /*Configure GPIO pins : ARD_D10_Pin LED1_Pin SPBTLE_RF_RST_Pin LED1A15_Pin */
  GPIO_InitStruct.Pin = ARD_D10_Pin|LED1_Pin|SPBTLE_RF_RST_Pin|LED1A15_Pin;
  GPIO_InitStruct.Mode = GPIO_MODE_OUTPUT_PP;
  GPIO_InitStruct.Pull = GPIO_NOPULL;
  GPIO_InitStruct.Speed = GPIO_SPEED_FREQ_LOW;
  HAL_GPIO_Init(GPIOA, &GPIO_InitStruct);

  /*Configure GPIO pin : ARD_D4_Pin */
  GPIO_InitStruct.Pin = ARD_D4_Pin;
  GPIO_InitStruct.Mode = GPIO_MODE_AF_PP;
  GPIO_InitStruct.Pull = GPIO_NOPULL;
  GPIO_InitStruct.Speed = GPIO_SPEED_FREQ_LOW;
  GPIO_InitStruct.Alternate = GPIO_AF1_TIM2;
  HAL_GPIO_Init(ARD_D4_GPIO_Port, &GPIO_InitStruct);

  /*Configure GPIO pin : ARD_D7_Pin */
  GPIO_InitStruct.Pin = ARD_D7_Pin;
  GPIO_InitStruct.Mode = GPIO_MODE_ANALOG_ADC_CONTROL;
  GPIO_InitStruct.Pull = GPIO_NOPULL;
  HAL_GPIO_Init(ARD_D7_GPIO_Port, &GPIO_InitStruct);

  /*Configure GPIO pins : ARD_D12_Pin ARD_D11_Pin */
  GPIO_InitStruct.Pin = ARD_D12_Pin|ARD_D11_Pin;
  GPIO_InitStruct.Mode = GPIO_MODE_AF_PP;
  GPIO_InitStruct.Pull = GPIO_NOPULL;
  GPIO_InitStruct.Speed = GPIO_SPEED_FREQ_VERY_HIGH;
  GPIO_InitStruct.Alternate = GPIO_AF5_SPI1;
  HAL_GPIO_Init(GPIOA, &GPIO_InitStruct);

  /*Configure GPIO pin : ARD_D3_Pin */
  GPIO_InitStruct.Pin = ARD_D3_Pin;
  GPIO_InitStruct.Mode = GPIO_MODE_IT_RISING;
  GPIO_InitStruct.Pull = GPIO_NOPULL;
  HAL_GPIO_Init(ARD_D3_GPIO_Port, &GPIO_InitStruct);

  /*Configure GPIO pin : ARD_D6_Pin */
  GPIO_InitStruct.Pin = ARD_D6_Pin;
  GPIO_InitStruct.Mode = GPIO_MODE_ANALOG_ADC_CONTROL;
  GPIO_InitStruct.Pull = GPIO_NOPULL;
  HAL_GPIO_Init(ARD_D6_GPIO_Port, &GPIO_InitStruct);

  /*Configure GPIO pins : ARD_D8_Pin ISM43362_BOOT0_Pin ISM43362_WAKEUP_Pin LED2_Pin
                           SPSGRF_915_SDN_Pin ARD_D5_Pin SPSGRF_915_SPI3_CSN_Pin */
  GPIO_InitStruct.Pin = ARD_D8_Pin|ISM43362_BOOT0_Pin|ISM43362_WAKEUP_Pin|LED2_Pin
                          |SPSGRF_915_SDN_Pin|ARD_D5_Pin|SPSGRF_915_SPI3_CSN_Pin;
  GPIO_InitStruct.Mode = GPIO_MODE_OUTPUT_PP;
  GPIO_InitStruct.Pull = GPIO_NOPULL;
  GPIO_InitStruct.Speed = GPIO_SPEED_FREQ_LOW;
  HAL_GPIO_Init(GPIOB, &GPIO_InitStruct);

  /*Configure GPIO pins : LPS22HB_INT_DRDY_EXTI0_Pin LSM6DSL_INT1_EXTI11_Pin ARD_D2_Pin HTS221_DRDY_EXTI15_Pin
                           PMOD_IRQ_EXTI12_Pin */
  GPIO_InitStruct.Pin = LPS22HB_INT_DRDY_EXTI0_Pin|LSM6DSL_INT1_EXTI11_Pin|ARD_D2_Pin|HTS221_DRDY_EXTI15_Pin
                          |PMOD_IRQ_EXTI12_Pin;
  GPIO_InitStruct.Mode = GPIO_MODE_IT_RISING;
  GPIO_InitStruct.Pull = GPIO_NOPULL;
  HAL_GPIO_Init(GPIOD, &GPIO_InitStruct);

  /*Configure GPIO pins : USB_OTG_FS_PWR_EN_Pin SPBTLE_RF_SPI3_CSN_Pin PMOD_RESET_Pin STSAFE_A100_RESET_Pin */
  GPIO_InitStruct.Pin = USB_OTG_FS_PWR_EN_Pin|SPBTLE_RF_SPI3_CSN_Pin|PMOD_RESET_Pin|STSAFE_A100_RESET_Pin;
  GPIO_InitStruct.Mode = GPIO_MODE_OUTPUT_PP;
  GPIO_InitStruct.Pull = GPIO_NOPULL;
  GPIO_InitStruct.Speed = GPIO_SPEED_FREQ_LOW;
  HAL_GPIO_Init(GPIOD, &GPIO_InitStruct);

  /*Configure GPIO pins : VL53L0X_XSHUT_Pin LED3_WIFI__LED4_BLE_Pin */
  GPIO_InitStruct.Pin = VL53L0X_XSHUT_Pin|LED3_WIFI__LED4_BLE_Pin;
  GPIO_InitStruct.Mode = GPIO_MODE_OUTPUT_PP;
  GPIO_InitStruct.Pull = GPIO_NOPULL;
  GPIO_InitStruct.Speed = GPIO_SPEED_FREQ_LOW;
  HAL_GPIO_Init(GPIOC, &GPIO_InitStruct);

  /*Configure GPIO pins : VL53L0X_GPIO1_EXTI7_Pin LSM3MDL_DRDY_EXTI8_Pin */
  GPIO_InitStruct.Pin = VL53L0X_GPIO1_EXTI7_Pin|LSM3MDL_DRDY_EXTI8_Pin;
  GPIO_InitStruct.Mode = GPIO_MODE_IT_RISING;
  GPIO_InitStruct.Pull = GPIO_NOPULL;
  HAL_GPIO_Init(GPIOC, &GPIO_InitStruct);

  /*Configure GPIO pin : PMOD_SPI2_SCK_Pin */
  GPIO_InitStruct.Pin = PMOD_SPI2_SCK_Pin;
  GPIO_InitStruct.Mode = GPIO_MODE_AF_PP;
  GPIO_InitStruct.Pull = GPIO_NOPULL;
  GPIO_InitStruct.Speed = GPIO_SPEED_FREQ_VERY_HIGH;
  GPIO_InitStruct.Alternate = GPIO_AF5_SPI2;
  HAL_GPIO_Init(PMOD_SPI2_SCK_GPIO_Port, &GPIO_InitStruct);

  /*Configure GPIO pins : PMOD_UART2_CTS_Pin PMOD_UART2_RTS_Pin PMOD_UART2_TX_Pin PMOD_UART2_RX_Pin */
  GPIO_InitStruct.Pin = PMOD_UART2_CTS_Pin|PMOD_UART2_RTS_Pin|PMOD_UART2_TX_Pin|PMOD_UART2_RX_Pin;
  GPIO_InitStruct.Mode = GPIO_MODE_AF_PP;
  GPIO_InitStruct.Pull = GPIO_NOPULL;
  GPIO_InitStruct.Speed = GPIO_SPEED_FREQ_VERY_HIGH;
  GPIO_InitStruct.Alternate = GPIO_AF7_USART2;
  HAL_GPIO_Init(GPIOD, &GPIO_InitStruct);

  /*Configure GPIO pins : ARD_D15_Pin ARD_D14_Pin */
  GPIO_InitStruct.Pin = ARD_D15_Pin|ARD_D14_Pin;
  GPIO_InitStruct.Mode = GPIO_MODE_AF_OD;
  GPIO_InitStruct.Pull = GPIO_NOPULL;
  GPIO_InitStruct.Speed = GPIO_SPEED_FREQ_VERY_HIGH;
  GPIO_InitStruct.Alternate = GPIO_AF4_I2C1;
  HAL_GPIO_Init(GPIOB, &GPIO_InitStruct);

  /* EXTI interrupt init*/
  HAL_NVIC_SetPriority(EXTI1_IRQn, 5, 0);
  HAL_NVIC_EnableIRQ(EXTI1_IRQn);

  HAL_NVIC_SetPriority(EXTI9_5_IRQn, 5, 0);
  HAL_NVIC_EnableIRQ(EXTI9_5_IRQn);

  HAL_NVIC_SetPriority(EXTI15_10_IRQn, 5, 0);
  HAL_NVIC_EnableIRQ(EXTI15_10_IRQn);

}

/* USER CODE BEGIN 4 */

static int wifi_start(void)
{
  uint8_t  MAC_Addr[6];

 /*Initialize and use WIFI module */
  if(WIFI_Init() ==  WIFI_STATUS_OK)
  {
    LOG(("ES-WIFI Initialized.\n"));
    if(WIFI_GetMAC_Address(MAC_Addr) == WIFI_STATUS_OK)
    {
      LOG(("> eS-WiFi module MAC Address : %02X:%02X:%02X:%02X:%02X:%02X\n",
               MAC_Addr[0],
               MAC_Addr[1],
               MAC_Addr[2],
               MAC_Addr[3],
               MAC_Addr[4],
               MAC_Addr[5]));
    }
    else
    {
      LOG(("> ERROR : CANNOT get MAC address\n"));
      return -1;
    }
  }
  else
  {
    return -1;
  }
  return 0;
}

int wifi_connect(void)
{

  wifi_start();

  LOG(("\nConnecting to %s , %s\n",SSID,PASSWORD));
  if( WIFI_Connect(SSID, PASSWORD, WIFI_ECN_WPA2_PSK) == WIFI_STATUS_OK)
  {
    if(WIFI_GetIP_Address(IP_Addr) == WIFI_STATUS_OK)
    {
      LOG(("> es-wifi module connected: got IP Address : %d.%d.%d.%d\n",
               IP_Addr[0],
               IP_Addr[1],
               IP_Addr[2],
               IP_Addr[3]));
    }
    else
    {
		  LOG((" ERROR : es-wifi module CANNOT get IP address\n"));
      return -1;
    }
  }
  else
  {
		 LOG(("ERROR : es-wifi module NOT connected\n"));
     return -1;
  }
  return 0;
}

int wifi_get_http(void)
{
	uint8_t ret;
	uint16_t datasent;
	uint8_t HTTP_REQUEST[]="GET / HTTP/1.0\n\r\n\r";
	uint8_t ipaddr[4]={193,147,161,245};
	uint8_t recvdata[1024];
	uint16_t remotePort=80;
	uint16_t recvlen;
	uint8_t err=0;

	if (wifi_connect()!=0) return -1;

	LOG(("Running HTTP GET test\n"));

	//LOG(("My IP address is %d.%d.%d.%d\n",IP_Addr[0],IP_Addr[1],IP_Addr[2],IP_Addr[3]));

    ret=WIFI_OpenClientConnection(SOCKET, WIFI_TCP_PROTOCOL, "http", ipaddr, remotePort, 0);
	if(ret!=WIFI_STATUS_OK) {
		LOG(("Error in opening connection: %d\n",ret));
	} else {
		LOG(("Connection established.\n"));
	}

	while(!err) {
		ret=WIFI_ReceiveData(SOCKET, recvdata, 1000, &recvlen, WIFI_READ_TIMEOUT);
		if(ret!=WIFI_STATUS_OK) {
			LOG(("Error in receiving data: %d\n",ret));
			err=1;
		} else {
			if(recvlen>0) {
				recvdata[recvlen]=0;
				LOG(("Received data: %s\n",recvdata));
			}
		}

		ret=WIFI_SendData(SOCKET, (uint8_t *)HTTP_REQUEST, strlen((char *)HTTP_REQUEST), &datasent, WIFI_WRITE_TIMEOUT);
		if(ret!=WIFI_STATUS_OK) {
			LOG(("Error in sending data: %d\n",ret));
			err=1;
		} else {
			LOG(("Data sent.\n"));
		}

	}

	return 0;

}

int wifi_server(void)
{
  bool StopServer = false;

  LOG(("\nRunning HTML Server test\n"));
  if (wifi_connect()!=0) return -1;

  if (WIFI_STATUS_OK!=WIFI_StartServer(SOCKET, WIFI_TCP_PROTOCOL, 1, "", PORT))
  {
    LOG(("ERROR: Cannot start server.\n"));
  }

  LOG(("Server is running and waiting for an HTTP  Client connection to %d.%d.%d.%d\n",IP_Addr[0],IP_Addr[1],IP_Addr[2],IP_Addr[3]));

  do
  {
    uint8_t RemoteIP[4];
    uint16_t RemotePort;

    while (WIFI_STATUS_OK != WIFI_WaitServerConnection(SOCKET,1000,RemoteIP,&RemotePort))
    {
        LOG(("Waiting connection to  %d.%d.%d.%d\n",IP_Addr[0],IP_Addr[1],IP_Addr[2],IP_Addr[3]));

    }

    LOG(("Client connected %d.%d.%d.%d:%d\n",RemoteIP[0],RemoteIP[1],RemoteIP[2],RemoteIP[3],RemotePort));

    StopServer=WebServerProcess();

    if(WIFI_CloseServerConnection(SOCKET) != WIFI_STATUS_OK)
    {
      LOG(("ERROR: failed to close current Server connection\n"));
      return -1;
    }
  }
  while(StopServer == false);

  if (WIFI_STATUS_OK!=WIFI_StopServer(SOCKET))
  {
    LOG(("ERROR: Cannot stop server.\n"));
  }

  LOG(("Server is stop\n"));
  return 0;
}

static bool WebServerProcess(void)
{
  int16_t f_temp;
  uint16_t  respLen;
  static   uint8_t resp[1024];
  bool    stopserver=false;

  if (WIFI_STATUS_OK == WIFI_ReceiveData(SOCKET, resp, 1000, &respLen, WIFI_READ_TIMEOUT))
  {
   LOG(("get %d byte from server\n",respLen));

   if( respLen > 0)
   {
      if(strstr((char *)resp, "GET")) /* GET: put web page */
      {
        //temp = (int) BSP_TSENSOR_ReadTemp();
        f_temp = BSP_TSENSOR_ReadIntTemp();
        if(SendWebPage(LedState, f_temp) != WIFI_STATUS_OK)
        {
          LOG(("> ERROR : Cannot send web page\n"));
        }
        else
        {
          LOG(("Send page after  GET command\n"));
        }
       }
       else if(strstr((char *)resp, "POST"))/* POST: received info */
       {
         LOG(("Post request\n"));

         if(strstr((char *)resp, "radio"))
         {
           if(strstr((char *)resp, "radio=0"))
           {
             LedState = 0;
             // si no se usan notificaciones, apagar el LED directamente
             //BSP_LED_Off(LED2);
             // si se usan notificaciones, enviar notificacion a la tarea
             osThreadFlagsSet(ledTaskHandle, FLAG_LED_OFF);
           }
           else if(strstr((char *)resp, "radio=1"))
           {
             LedState = 1;
             // si no se usan notificaciones, apagar el LED directamente
             //BSP_LED_On(LED2);
             // si se usan notificaciones, enviar notificacion a la tarea
             osThreadFlagsSet(ledTaskHandle, FLAG_LED_ON);
           }
           f_temp = BSP_TSENSOR_ReadIntTemp();
         }
         if(strstr((char *)resp, "stop_server"))
         {
           if(strstr((char *)resp, "stop_server=0"))
           {
             stopserver = false;
           }
           else if(strstr((char *)resp, "stop_server=1"))
           {
             stopserver = true;
           }
         }
         f_temp = BSP_TSENSOR_ReadIntTemp();
         if(SendWebPage(LedState, f_temp) != WIFI_STATUS_OK)
         {
           LOG(("> ERROR : Cannot send web page\n"));
         }
         else
         {
           LOG(("Send Page after POST command\n"));
         }
       }
     }
  }
  else
  {
    LOG(("Client close connection\n"));
  }
  return stopserver;

 }

/**
  * @brief  Send HTML page
  * @param  None
  * @retval None
  */
static WIFI_Status_t SendWebPage(uint8_t ledIsOn, int16_t temperature)
{
  uint8_t  temp[50];
  uint16_t SentDataLength;
  WIFI_Status_t ret;

  /* construct web page content */
  strcpy((char *)http, (char *)"HTTP/1.0 200 OK\r\nContent-Type: text/html\r\nPragma: no-cache\r\n\r\n");
  strcat((char *)http, (char *)"<html>\r\n<body>\r\n");
  strcat((char *)http, (char *)"<title>STM32 Web Server</title>\r\n");
  strcat((char *)http, (char *)"<h2>InventekSys : Web Server using Es-Wifi with STM32</h2>\r\n");
  strcat((char *)http, (char *)"<br /><hr>\r\n");
  strcat((char *)http, (char *)"<p><form method=\"POST\"><strong>Temp: <input type=\"text\" value=\"");
  sprintf((char *)temp, "%d", temperature);
  strcat((char *)http, (char *)temp);
  strcat((char *)http, (char *)"\"> <sup>O</sup>C");

  if (ledIsOn)
  {
    strcat((char *)http, (char *)"<p><input type=\"radio\" name=\"radio\" value=\"0\" >LED off");
    strcat((char *)http, (char *)"<br><input type=\"radio\" name=\"radio\" value=\"1\" checked>LED on");
  }
  else
  {
    strcat((char *)http, (char *)"<p><input type=\"radio\" name=\"radio\" value=\"0\" checked>LED off");
    strcat((char *)http, (char *)"<br><input type=\"radio\" name=\"radio\" value=\"1\" >LED on");
  }

  strcat((char *)http, (char *)"</strong><p><input type=\"submit\"></form></span>");
  strcat((char *)http, (char *)"</body>\r\n</html>\r\n");

  ret = WIFI_SendData(0, (uint8_t *)http, strlen((char *)http), &SentDataLength, WIFI_WRITE_TIMEOUT);

  if((ret == WIFI_STATUS_OK) && (SentDataLength != strlen((char *)http)))
  {
    ret = WIFI_STATUS_ERROR;
  }

  return ret;
}

#if defined (TERMINAL_USE)
/**
  * @brief  Retargets the C library printf function to the USART.
  * @param  None
  * @retval None
  */
PUTCHAR_PROTOTYPE
{
  /* Place your implementation of fputc here */
  /* e.g. write a character to the USART1 and Loop until the end of transmission */
  HAL_UART_Transmit(&hDiscoUart, (uint8_t *)&ch, 1, 0xFFFF);

  return ch;
}
#endif /* TERMINAL_USE */

/**
  * @brief  EXTI line detection callback.
  * @param  GPIO_Pin: Specifies the port pin connected to corresponding EXTI line.
  * @retval None
  */
void HAL_GPIO_EXTI_Callback(uint16_t GPIO_Pin)
{
  switch (GPIO_Pin)
  {
    case (GPIO_PIN_1):
    {
      SPI_WIFI_ISR();
      break;
    }
    default:
    {
      break;
    }
  }
}

/**
  * @brief  SPI3 line detection callback.
  * @param  None
  * @retval None
  */
void SPI3_IRQHandler(void)
{
  HAL_SPI_IRQHandler(&hspi);
}

int16_t BSP_TSENSOR_ReadIntTemp(void)
{
  return HTS221_T_ReadIntTemp(TSENSOR_I2C_ADDRESS);
}

int16_t HTS221_T_ReadIntTemp(uint16_t DeviceAddr)
{
  int16_t T0_out, T1_out, T_out, T0_degC_x8_u16, T1_degC_x8_u16;
  int16_t T0_degC, T1_degC;
  uint8_t buffer[4], tmp;
  int16_t tmp_f;

  SENSOR_IO_ReadMultiple(DeviceAddr, (HTS221_T0_DEGC_X8 | 0x80), buffer, 2);
  tmp = SENSOR_IO_Read(DeviceAddr, HTS221_T0_T1_DEGC_H2);

  T0_degC_x8_u16 = (((uint16_t)(tmp & 0x03)) << 8) | ((uint16_t)buffer[0]);
  T1_degC_x8_u16 = (((uint16_t)(tmp & 0x0C)) << 6) | ((uint16_t)buffer[1]);
  T0_degC = T0_degC_x8_u16 >> 3;
  T1_degC = T1_degC_x8_u16 >> 3;

  SENSOR_IO_ReadMultiple(DeviceAddr, (HTS221_T0_OUT_L | 0x80), buffer, 4);

  T0_out = (((uint16_t)buffer[1]) << 8) | (uint16_t)buffer[0];
  T1_out = (((uint16_t)buffer[3]) << 8) | (uint16_t)buffer[2];

  SENSOR_IO_ReadMultiple(DeviceAddr, (HTS221_TEMP_OUT_L_REG | 0x80), buffer, 2);

  T_out = (((uint16_t)buffer[1]) << 8) | (uint16_t)buffer[0];

  tmp_f = (T_out - T0_out) * (T1_degC - T0_degC) / (T1_out - T0_out)  +  T0_degC;

  return tmp_f;
}

/* USER CODE END 4 */

void StartDefaultTask(void *argument)
{
  /* USER CODE BEGIN 5 */
  /* Infinite loop */
  for(;;)
  {
	//HAL_GPIO_TogglePin(GPIOB,GPIO_PIN_14);
	HAL_GPIO_TogglePin(GPIOA,GPIO_PIN_5);
    osDelay(1000);
  }
  /* USER CODE END 5 */
}

void wifiStartTask(void *argument)
{
  /* USER CODE BEGIN wifiStartTask */
  wifi_connect();

	/* Infinite loop */
  for(;;)
  {
    osDelay(1);
  }
  /* USER CODE END wifiStartTask */
}

void ledTaskFunc(void *argument)
{
  /* USER CODE BEGIN ledTaskFunc */
  uint32_t return_wait=0U;
  /* Infinite loop */
  for(;;)
  {
    // esperar notificaciones
	  return_wait = osThreadFlagsWait(0x00000003U, osFlagsWaitAny, pdMS_TO_TICKS(1000));
	  if(return_wait == FLAG_LED_ON)
	    BSP_LED_On(LED2);
	  else if(return_wait == FLAG_LED_OFF)
	    BSP_LED_Off(LED2);
	  //osDelay(1);
  }
  /* USER CODE END ledTaskFunc */
}

void HAL_TIM_PeriodElapsedCallback(TIM_HandleTypeDef *htim)
{
  if (htim->Instance == TIM6) {
    HAL_IncTick();
  }
}

void Error_Handler(void)
{
  __disable_irq();
  while (1)
  {
  }
}
